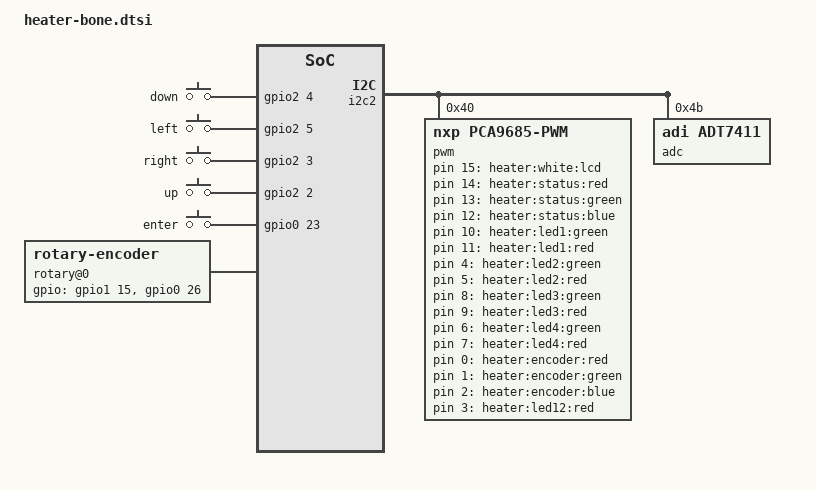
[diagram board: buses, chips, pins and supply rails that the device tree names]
/*
 * Copyright (C) 2013 Ben Gamari <bgamari.foss@gmail.com>
 * 
 * This program is free software; you can redistribute it and/or
 * modify it under the terms of the GNU General Public License version
 * 2 as published by the Free Software Foundation.
 */

&am33xx_pinmux {
    gpio_helper_pins: pinmux_gpio_helper_pins {
        pinctrl-single,pins = <
            // BTN4         = P8_07 = gpio2[2] INPUT   = gpio66
            0x90 0x27
            // BTN3         = P8_08 = gpio2[3] INPUT   = gpio67
            0x94 0x27
            // BTN2         = P8_09 = gpio2[5] INPUT   = gpio69
            0x9c 0x27
            // BTN1         = P8_10 = gpio2[4] INPUT   = gpio68
            0x98 0x27
            // HEATER_EN_SS = P8_11 = gpio1[13]        = gpio45
            0x34 0x07
            // HEATER_EN    = P8_12 = gpio1[12]        = gpio44
            0x30 0x07
            // ENC_SW       = P8_13 = gpio0[23] INPUT  = gpio23
            0x24 0x27
            // ENC_B        = P8_14 = gpio0[26] INPUT  = gpio26
            0x28 0x27
            // ENC_A        = P8_15 = gpio1[15] INPUT  = gpio47
            0x3c 0x27
            // LCD_D7       = P8_16 = gpio1[14]        = gpio46
            0x38 0x07
            // LCD_D5       = P8_17 = gpio0[27]        = gpio27
            0x2c 0x07
            // LCD_D6       = P8_18 = gpio2[1]         = gpio65
            0x8c 0x07
            // LCD_D4       = P8_19 = gpio0[22]        = gpio22
            0x20 0x07
            // LCD_D3       = P8_26 = gpio1[29]        = gpio61
            0x7c 0x07
            // LCD_D1       = P8_27 = gpio2[22]        = gpio86
            0xe0 0x07
            // LCD_D2       = P8_28 = gpio2[24]        = gpio88
            0xe8 0x07
            // LCD_E        = P8_29 = gpio2[23]        = gpio87
            0xe4 0x07
            // LCD_D0       = P8_30 = gpio2[25]        = gpio89
            0xec 0x07
            // XBEE_CTSn    = P8_31 = uart5_ctsn
            0xd8 0x06
            // XBEE_RTSn    = P8_32 = uart5_rtsn INPUT
            0xdc 0x26
            // LCD_RS       = P8_34 = gpio2[17]        = gpio81
            0xcc 0x07
            // XBEE_TXD     = P8_37 = uart5_txd
            0xc0 0x04
            // XBEE_RXD     = P8_38 = uart5_rxd INPUT
            0xc4 0x24
            // XBEE_RESETn  = P8_39 = gpio2[12]        = gpio76
            0xb8 0x07
            // XBEE_SLEEP_RQ = P8_40 = gpio2[13]       = gpio77
            0xbc 0x07
            // XBEE_PWR     = P8_42 = gpio2[10]        = gpio75
            0xb4 0x07

            // ADC_INT      = P9_23 = gpio1[17] INPUT  = gpio49
            0x44 0x27
            // NRF_CE       = P9_26 = gpio0[14]        = gpio14
            // [    6.899472] pinctrl-single 44e10800.pinmux: pin 44e10980.0 already requested by 48022000.serial; cannot claim for pwmleds.9

            //0x180 0x07
            // NRF_IRQ      = P9_27 = gpio3[19] INPUT  = gpio115
            0x1a4 0x27
            // SPI1_MOSI    = P9_29 = spi1_d0
            0x194 0x03
            // SPI1_MISO    = P9_30 = spi1_d1 INPUT
            0x198 0x23
            // SPI1_SCLK    = P9_31 = spi1_sclk INPUT
            0x190 0x23
            // NRF_CSn      = P9_42 = spi1_cs1
            // [    9.863443] pinctrl-single 44e10800.pinmux: pin 44e10964.0 already requested by 48300000.epwmss; cannot claim for pwmleds.9

            //0x164 0x02
        >;
    };
};

&i2c2 {
    #address-cells = <1>;
    #size-cells = <0>;
    status = "okay";

    pwm: pca@40 {
        compatible = "nxp,pca9685-pwm";
        #pwm-cells = <2>;
        reg = <0x40>;
        invert;
        // Don't use open-drain on v2 of board due to LCD backlight
        //open-drain;
    };

    adc: adt7411@4b {
        compatible = "adi,adt7411";
        reg = <0x4b>;
        #address-cells = <1>;
        #size-cells = <0>;
    };
};

/ {
    pwmleds {
        compatible = "pwm-leds";

    // placed here for lack of a better place
    pinctrl-names = "default";
    pinctrl-0 = <&gpio_helper_pins>;

        // The period_ns values accepted by the PCA9685
        // driver are a lie. The driver simply determines
        // the desired on-time by,
        //
        //     duty = 4096 * duty_ns / period_ns
        lcd_backlight {
            pwms = <&pwm 15 4096>;
            label = "heater:white:lcd";
            max-brightness = <4095>;
        };
        red {
            pwms = <&pwm 14 4096>;
            label = "heater:status:red";
            max-brightness = <4095>;
        };
        green {
            pwms = <&pwm 13 4096>;
            label = "heater:status:green";
            max-brightness = <4095>;
        };
        blue {
            pwms = <&pwm 12 4096>;
            label = "heater:status:blue";
            max-brightness = <4095>;
        };
        
        led1  {
            pwms = <&pwm 10 4096>;
            label = "heater:led1:green";
            max-brightness = <4095>;
        };
        led2  {
            pwms = <&pwm 11 4096>;
            label = "heater:led1:red";
            max-brightness = <4095>;
        };
        led3  {
            pwms = <&pwm 4  4096>;
            label = "heater:led2:green";
            max-brightness = <4095>;
        };
        led4  {
            pwms = <&pwm 5  4096>;
            label = "heater:led2:red";
            max-brightness = <4095>;
        };
        led5  {
            pwms = <&pwm 8  4096>;
            label = "heater:led3:green";
            max-brightness = <4095>;
        };
        led6  {
            pwms = <&pwm 9  4096>;
            label = "heater:led3:red";
            max-brightness = <4095>;
        };
        led7  {
            pwms = <&pwm 6  4096>;
            label = "heater:led4:green";
            max-brightness = <4095>;
        };
        led8  {
            pwms = <&pwm 7  4096>;
            label = "heater:led4:red";
            max-brightness = <4095>;
        };
        led9  {
            pwms = <&pwm 0  4096>;
            label = "heater:encoder:red";
            max-brightness = <4095>;
        };
        led10 {
            pwms = <&pwm 1  4096>;
            label = "heater:encoder:green";
            max-brightness = <4095>;
        };
        led11 {
            pwms = <&pwm 2  4096>;
            label = "heater:encoder:blue";
            max-brightness = <4095>;
        };
        led12 {
            pwms = <&pwm 3  4096>;
            label = "heater:led12:red";
            max-brightness = <4095>;
        };
    };
};

/ {
    gpio_keys {
        compatible = "gpio-keys";
        #address-cells = <1>;
        #size-cells = <0>;

        autorepeat;
        button@1 {
            label = "down";
            linux,code = <108>;
            autorepeat;
            gpios = <&gpio2 4 0x00>;
        };

        button@2 {
            label = "left";
            linux,code = <105>;
            autorepeat;
            gpios = <&gpio2 5 0x00>;
        };

        button@3 {
            label = "right";
            linux,code = <106>;
            autorepeat;
            gpios = <&gpio2 3 0x00>;
        };

        button@4 {
            label = "up";
            linux,code = <103>;
            autorepeat;
            gpios = <&gpio2 2 0x00>;
        };

        button@5 {
            label = "enter";
            linux,code = <28>;
            gpios = <&gpio0 23 0x00>;
        };
    };

    rotary@0 {
        compatible = "rotary-encoder";
        gpios = <&gpio1 15 0>, <&gpio0 26 0>; 
        linux,axis = <0>; /* REL_X */
        rotary-encoder,relative-axis;
    };
};

/ {
    gpio_helper {
        compatible = "gpio-of-helper";
        status = "okay";

        heater_enable {
            gpio-name = "heater_enable";
            gpio = <&gpio2 12 0x00>;
            output;
        };

        heater_enable_ss {
            gpio-name = "heater_enable_ss";
            gpio = <&gpio2 13 0x00>;
            output;
        };

        lcd_d6 {
            gpio-name = "lcd_d6";
            gpio = <&gpio2 30 0x00>;
            output;
        };

        lcd_d7 {
            gpio-name = "lcd_d7";
            gpio = <&gpio2 5  0x00>;
            output;
        };

        lcd_d4 {
            gpio-name = "lcd_d4";
            gpio = <&gpio2 4  0x00>;
            output;
        };

        lcd_d5 {
            gpio-name = "lcd_d5";
            gpio = <&gpio2 1  0x00>;
            output;
        };

        lcd_d2 {
            gpio-name = "lcd_d2";
            gpio = <&gpio2 0  0x00>;
            output;
        };

        lcd_d3 {
            gpio-name = "lcd_d3";
            gpio = <&gpio2 29 0x00>;
            output;
        };

        lcd_d0 {
            gpio-name = "lcd_d0";
            gpio = <&gpio3 22 0x00>;
            output;
        };

        lcd_d1 {
            gpio-name = "lcd_d1";
            gpio = <&gpio3 24 0x00>;
            output;
        };

        lcd_rs {
            gpio-name = "lcd_rs";
            gpio = <&gpio3 23 0x00>;
            output;
        };

        lcd_e  {
            gpio-name = "lcd_e";
            gpio = <&gpio3 25 0x00>;
            output;
        };

        xbee_pwr {
            gpio-name = "xbee_pwr";
            gpio = <&gpio3 11 0x00>;
            output;
        };

        xbee_reset {
            gpio-name = "xbee_reset";
            gpio = <&gpio3 12 0x00>;
            output;
        };
    };
};
